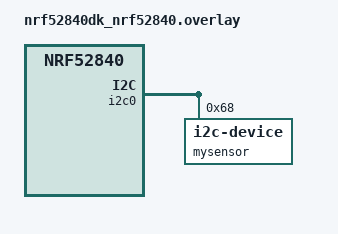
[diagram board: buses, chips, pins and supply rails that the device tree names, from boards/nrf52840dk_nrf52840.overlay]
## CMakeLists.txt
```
cmake_minimum_required(VERSION 3.20.0)

# Pull in the Zephyr build system
find_package(Zephyr REQUIRED HINTS $ENV{ZEPHYR_BASE})

project(mpu9250_program)

# Export compile commands for clangd (Neovim)
set(CMAKE_EXPORT_COMPILE_COMMANDS ON)

target_sources(app PRIVATE src/main.c)
```

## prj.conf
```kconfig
# printk() enable for console output
CONFIG_PRINTK=y

# Enable GPIOS
CONFIG_GPIO=y

# Enable Logging 
CONFIG_LOG=y

# Enable I2C 
CONFIG_I2C=y

# Enable Floating point formatting
CONFIG_CBPRINTF_FP_SUPPORT=y
```

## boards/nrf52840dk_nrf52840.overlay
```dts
&i2c0 {
  status = "okay";

  mysensor: mysensor@68{
    compatible = "i2c-device";
    reg = < 0x68 >;
  };
};
```

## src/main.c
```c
#include <stddef.h>
#include <stdint.h>
#include <zephyr/kernel.h>
#include <zephyr/drivers/i2c.h>
#include <zephyr/logging/log.h>

#define I2C0_NODE DT_NODELABEL(mysensor)

static const struct i2c_dt_spec dev_i2c = I2C_DT_SPEC_GET(I2C0_NODE);

// Essential registers for MPU9250 
#define MPU9250_REG_PWR_MGMT_1     0x6B
#define MPU9250_REG_WHO_AM_I       0x75
#define MPU9250_REG_ACCEL_START    0x3B 

// Register the logging module
LOG_MODULE_REGISTER(i2c_log, LOG_LEVEL_DBG);
int main(void)
{
  int ret;
  if (!device_is_ready(dev_i2c.bus)) {
    LOG_ERR("I2C bus %s is not ready", dev_i2c.bus -> name);
    return -1;
  }

  LOG_INF("I2C bus ready. Talking to device at 0x%02X", dev_i2c.addr);

  // Wake the sensor up 
  uint8_t wake_config[2] = {MPU9250_REG_PWR_MGMT_1, 0x00};

  ret = i2c_write_dt(&dev_i2c, wake_config, sizeof(wake_config));

  if (ret != 0) {
    LOG_ERR("Failed t wake MPU9250 (Reg %02X)", wake_config[0]);
    return -1;
  }

  LOG_INF("Sensor Awake");

  k_msleep(100);

  // Verify connection 
  // Read the WHO_AM_I register, should return 0x71 or 0x73 
  uint8_t who_am_i_reg = MPU9250_REG_WHO_AM_I;
  uint8_t who_am_i_val = 0;

  ret = i2c_write_read_dt(&dev_i2c, &who_am_i_reg, 1, &who_am_i_val, 1);
  if (ret != 0) {
    LOG_ERR("Failed to read WHO_AM_I register");
  } else {
    LOG_INF("WHO_AM_I reading: 0x%02X", who_am_i_val);
  }

  while (1) {
    uint8_t accel_data[14] = {0};

    ret = i2c_burst_read_dt(&dev_i2c, MPU9250_REG_ACCEL_START, accel_data, sizeof(accel_data));

    if (ret != 0) {
      LOG_ERR("Failed to burst read accelerometer");
    } else {
      // Raw values (accelerometer)
      int16_t accel_x = (accel_data[0] << 8) | accel_data[1];
      int16_t accel_y = (accel_data[2] << 8) | accel_data[3];
      int16_t accel_z = (accel_data[4] << 8) | accel_data[5];

      // Raw values (Gyroscope)
      
      int16_t gyro_x = (accel_data[8] << 8) | accel_data[9];
      int16_t gyro_y = (accel_data[10] << 8) | accel_data[11];
      int16_t gyro_z = (accel_data[12] << 8) | accel_data[13];

      // Actual values [G]
      float a_x = (float)accel_x / 16384.0f;
      float a_y = (float)accel_y / 16384.0f;
      float a_z = (float)accel_z / 16384.0f;

      // Actual values +/- 250 DPS (131.0 LSB/DPS)
      float g_x = (float)gyro_x / 131.0f;
      float g_y = (float)gyro_y / 131.0f;
      float g_z = (float)gyro_z / 131.0f;

      LOG_INF("Accel X: %.2f  | Y: %.2f  | Z: %.2f", a_x, a_y, a_z);
      LOG_INF("Gyro X: %.2f  | Y: %.2f  | Z: %.2f", g_x, g_y, g_z);
    }
    k_msleep(500);
  }

  return 0;
}
```
